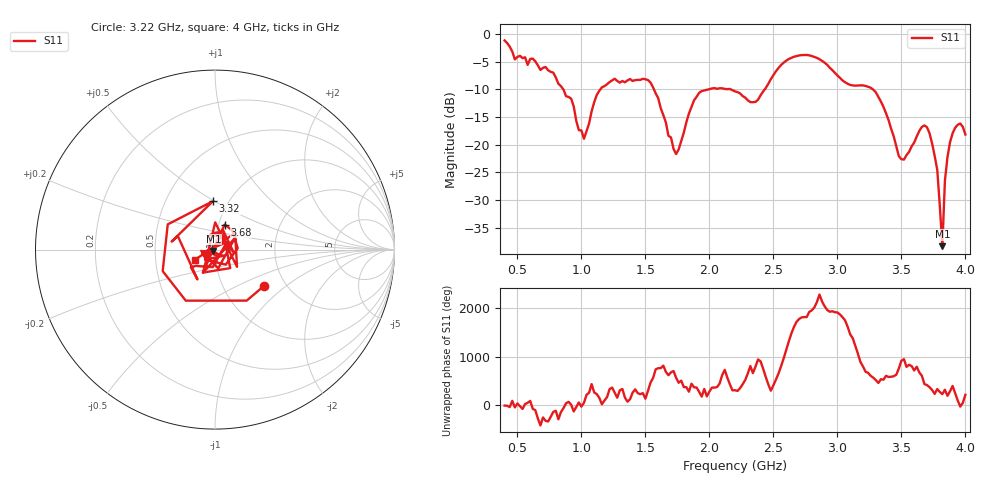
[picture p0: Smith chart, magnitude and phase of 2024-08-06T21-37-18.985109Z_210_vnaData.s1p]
!Created with skrf (http://scikit-rf.org).
# Hz S RI R 50.0
!freq ReS11 ImS11
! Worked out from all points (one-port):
!   181 points, 400 MHz to 4 GHz, reference 50 ohm
!   lowest |S11| = -38.3 dB at 3.82 GHz (marker M1), VSWR 1.02, Z = 49.1 - j0.776 ohm
!   |S11| at or under -10 dB: 859.7 MHz to 1.148 GHz (288 MHz wide, 28.7 % of centre); 1.567 GHz to 1.99 GHz (423.2 MHz wide, 23.8 % of centre); 3.278 GHz to end of sweep (the widest 3 of 4)
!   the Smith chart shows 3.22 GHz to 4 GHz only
!   S11 on the Smith chart (normalised r, x): 3.22 GHz: 1.56, -0.71; 3.32 GHz: 0.85, +0.49; 3.68 GHz: 1.07, +0.30; 4 GHz: 0.80, -0.09
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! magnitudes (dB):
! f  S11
! 400 MHz  -1.1
! 480 MHz  -4.6
! 620 MHz  -4.4
! 860 MHz  -10.0
! 1.02 GHz  -18.9
! 1.14 GHz  -10.2
! 1.3 GHz  -8.8
! 1.54 GHz  -8.7
! 1.72 GHz  -20.8
! 1.76 GHz  -20.8
! 1.92 GHz  -10.6
! 2.2 GHz  -10.3
! 2.36 GHz  -12.2
! 2.66 GHz  -4.1
! 2.84 GHz  -4.3
! 3.1 GHz  -9.2
! 3.22 GHz  -9.4
! 3.32 GHz  -11.4
! 3.48 GHz  -22.1
! 3.56 GHz  -21.3
! 3.68 GHz  -16.5
! 3.72 GHz  -17.9
! 3.78 GHz  -24.5
! 3.82 GHz  -38.3
! 3.84 GHz  -26.5
! 3.88 GHz  -19.5
! 3.94 GHz  -16.4
! 4 GHz  -18.1
